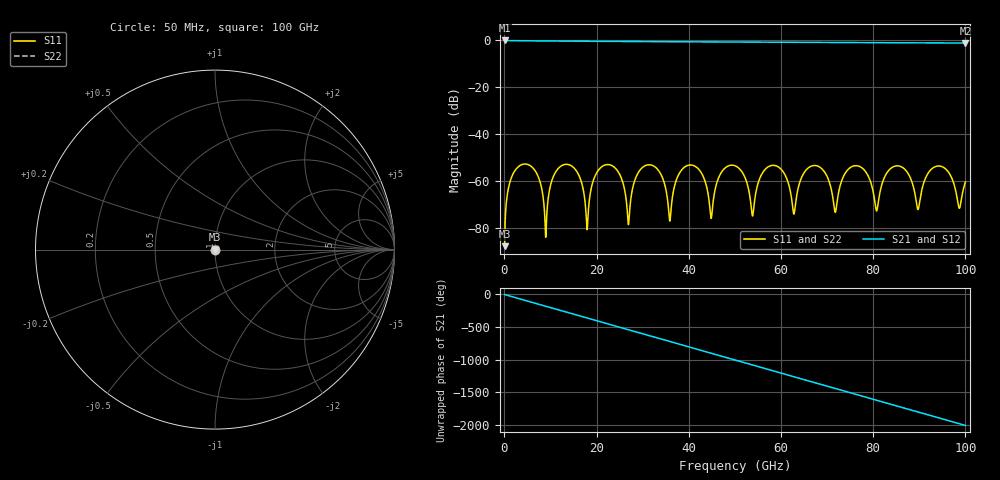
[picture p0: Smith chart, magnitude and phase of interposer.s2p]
! SHBT-R 12-layer Rogers RO4350B interposer S-parameters
! 2-port Touchstone file (real-imag), reference 50 Ohm
# Hz S RI R 50.0
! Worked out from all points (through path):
!   2000 points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, 50 MHz to 100 GHz, reference 50 ohm
!   highest |S21| = -0.01 dB at 50 MHz (marker M1); lowest = -1.1 dB at 100 GHz (marker M2)
!   group delay of S21, straight-line fit = 55.7 ps
!   lowest |S11| = -87.5 dB at 50 MHz (marker M3), VSWR 1.00, Z = 50 + j0.00418 ohm
!   |S11| at or under -10 dB: start of sweep to end of sweep
!   |S22| runs from -87.5 to -52.6 dB; largest |S21 - S12| = 0
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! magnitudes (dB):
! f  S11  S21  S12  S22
! 50 MHz  -87.5  0.0  0.0  -87.5
! 3.65 GHz  -52.9  -0.1  -0.1  -52.9
! 8.95 GHz  -83.7  -0.2  -0.2  -83.7
! 12.05 GHz  -53.8  -0.3  -0.3  -53.8
! 16.75 GHz  -60.5  -0.3  -0.3  -60.5
! 18 GHz  -79.6  -0.4  -0.4  -79.6
! 23.45 GHz  -53.4  -0.4  -0.4  -53.4
! 26.95 GHz  -78.2  -0.5  -0.5  -78.2
! 33.4 GHz  -55.2  -0.5  -0.5  -55.2
! 35.85 GHz  -76.7  -0.6  -0.6  -76.7
! 40.3 GHz  -53.0  -0.6  -0.6  -53.0
! 44.85 GHz  -75.7  -0.6  -0.6  -75.7
! 50.05 GHz  -53.3  -0.7  -0.7  -53.3
! 53.85 GHz  -74.7  -0.7  -0.7  -74.7
! 57.1 GHz  -53.9  -0.8  -0.8  -53.9
! 62.8 GHz  -73.9  -0.8  -0.8  -73.9
! 66.7 GHz  -53.4  -0.8  -0.8  -53.4
! 71.75 GHz  -73.1  -0.9  -0.9  -73.1
! 83.35 GHz  -55.3  -1.0  -1.0  -55.3
! 89.7 GHz  -71.9  -1.0  -1.0  -71.9
! 93.4 GHz  -53.7  -1.1  -1.1  -53.7
! 100 GHz  -60.2  -1.1  -1.1  -60.2
